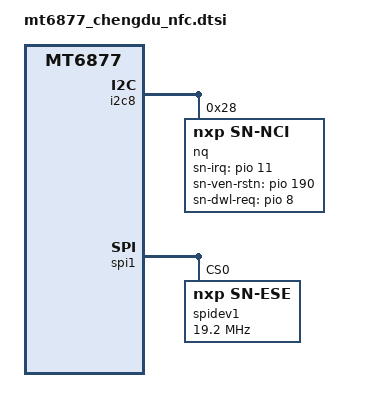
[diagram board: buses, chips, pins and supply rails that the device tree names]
&odm {
	nfc_chipset:nfc_chipset {
		compatible = "oplus-nfc-chipset";
		chipset-22629 = "SN110T";
	};
};

&pio {
        i2c8_pin: i2c8_pin {
                pins_cmd0_dat {
                        pinmux = <PINMUX_GPIO136__FUNC_SCL8>;
                        bias-pull-up;
                };

                pins_cmd1_dat {
                        pinmux = <PINMUX_GPIO137__FUNC_SDA8>;
                        bias-pull-up;
                };
        };
};


&i2c8 {
       status = "okay";
       nq@28 {
               compatible = "nxp,sn-nci";
               reg = <0x28>;
               nxp,sn-irq = <&pio 11 0x0>;
               nxp,sn-ven-rstn = <&pio 190 0x0>;
               nxp,sn-dwl-req = <&pio 8 0x0>;
               interrupt-parent = <&pio>;
       };

};

&spi1 {
       status = "okay";
       #address-cells = <1>;
       #size-cells = <0>;
       spidev1: p61@1 {
       compatible = "nxp,sn-ese";
       reg = <0>;
       spi-max-frequency = <19200000>;
       nxp,nfcc = "8-0028";
       };
};
